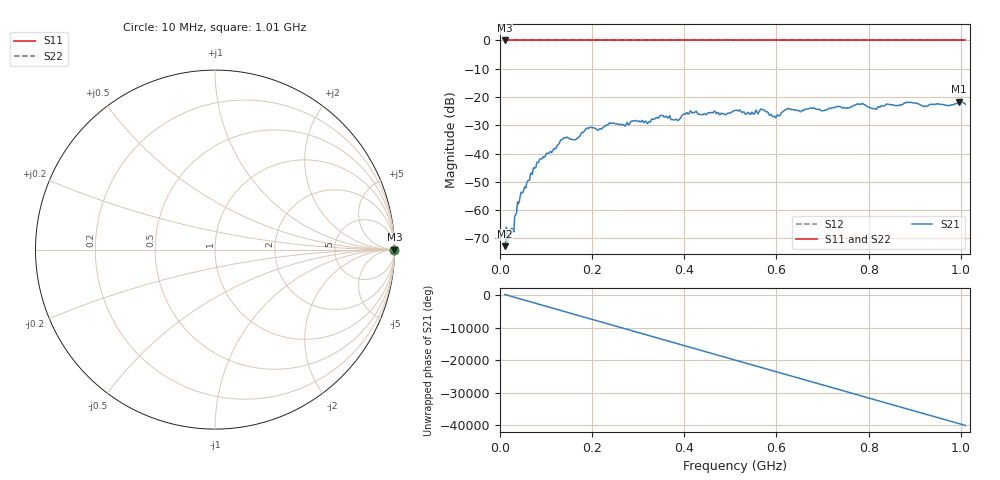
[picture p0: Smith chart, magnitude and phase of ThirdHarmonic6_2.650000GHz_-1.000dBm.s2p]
! 8/17/2025 6:02:40 AM
! C:\ANRITSUVNA\TEMP\TEMP.S2P
! CHANNEL.1
! TR.MEASUREMENT
! RAW.DATA
! RF.CORRECTION.OFF
! AVERAGING.OFF
! IF.BANDWIDTH: 5KHZ
! SWEEPTYPE:  FREQ.SWEEP(Linear)
! Reference Plane Port Info
! PORT:  PORT1  PORT2
! DISTANCE:  0  m  0  m
! TIME:  0  s  0  s
! PHASE.OFFSET:  0  deg.  0  deg.
! LOSS:  0  dB  0  dB
! REF.LOSS:  0  dB  0  dB
! REF.FREQ:  0  Hz  0  Hz
! Power Info
! POWER:  -20  dBm  -20  dBm
! EFF.POWER:  -20  dBm  -20  dBm
! SOURCE.ATTEN:  0  dB  0  dB
! TEST.ATTEN:  0  dB  0  dB
# GHZ S RI R 50.0
! FREQ.GHZ  S11RE  S11IM  S21RE  S21IM  S12RE  S12IM  S22RE  S22IM
!; PortSelection: Port_12
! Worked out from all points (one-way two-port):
!   501 points, 10 MHz to 1.01 GHz, reference 50 ohm
!   highest |S21| = -21.64 dB at 996 MHz (marker M1); lowest = -72.8 dB at 10 MHz (marker M2)
!   lowest |S11| = 0.0 dB at 10 MHz (marker M3)
!   |S11| at or under -10 dB: nowhere
!   |S22| runs from 0.0 to 0.0 dB; largest |S21 - S12| = 1.1
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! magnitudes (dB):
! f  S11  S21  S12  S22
! 10 MHz  0.0  -72.8  0.0  0.0
! 26 MHz  0.0  -66.5  0.0  0.0
! 42 MHz  0.0  -56.9  0.0  0.0
! 48 MHz  0.0  -53.9  0.0  0.0
! 84 MHz  0.0  -43.0  0.0  0.0
! 136 MHz  0.0  -35.0  0.0  0.0
! 162 MHz  0.0  -35.2  0.0  0.0
! 178 MHz  0.0  -32.5  0.0  0.0
! 240 MHz  0.0  -29.4  0.0  0.0
! 322 MHz  0.0  -28.9  0.0  0.0
! 344 MHz  0.0  -27.5  0.0  0.0
! 384 MHz  0.0  -28.1  0.0  0.0
! 416 MHz  0.0  -25.6  0.0  0.0
! 510 MHz  0.0  -24.8  0.0  0.0
! 570 MHz  0.0  -24.5  0.0  0.0
! 596 MHz  0.0  -26.8  0.0  0.0
! 624 MHz  0.0  -24.1  0.0  0.0
! 678 MHz  0.0  -24.0  0.0  0.0
! 814 MHz  0.0  -24.1  0.0  0.0
! 844 MHz  0.0  -22.6  0.0  0.0
! 996 MHz  0.0  -21.6  0.0  0.0
! 1.01 GHz  0.0  -22.5  0.0  0.0
